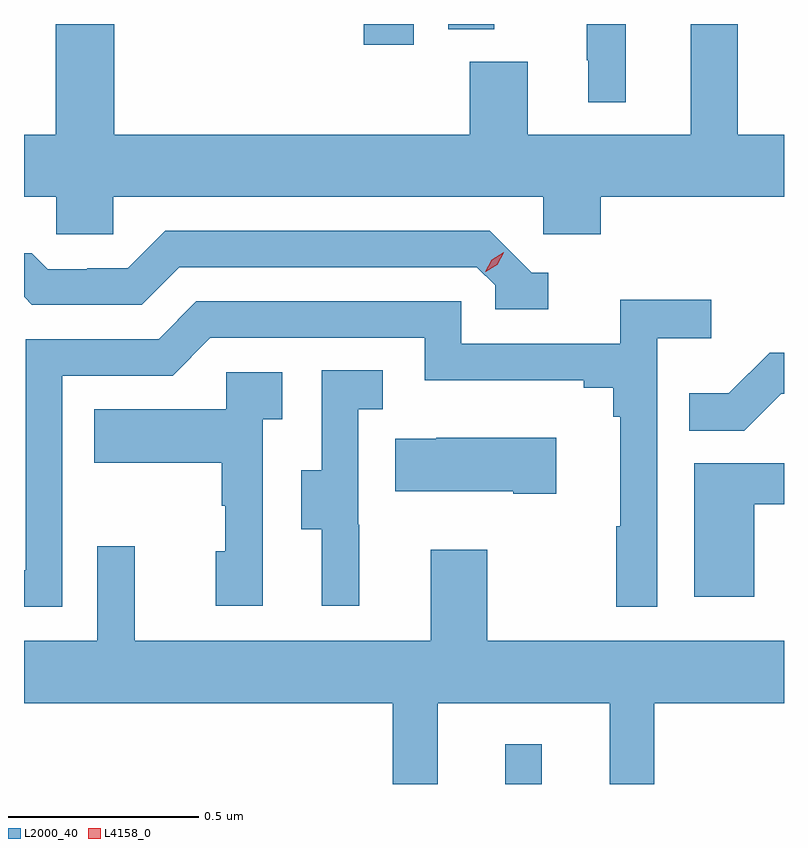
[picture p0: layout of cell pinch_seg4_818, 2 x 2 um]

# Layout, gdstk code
import gdstk
lib = gdstk.Library(unit=1e-6, precision=1e-09)
def R(c, l, rs):  # rectangles x0, y0, x1, y1
    for r in rs: c.add(gdstk.rectangle(r[:2], r[2:], *l))
def P(c, l, *ps):  # polygons
    for p in ps: c.add(gdstk.Polygon(p, *l))
L2000_40 = (2000, 40)
L4158_0 = (4158, 0)

pinch_seg4_818 = lib.new_cell('pinch_seg4_818')
R(pinch_seg4_818, L2000_40, [(819.968,805.931,820.065,806.035), (819.596,807.876,819.727,807.931), (819.818,807.917,819.94,807.931)])
P(pinch_seg4_818, L2000_40, [(818.937,807.476),(820.068,807.476),(820.068,807.378),(820.22,807.378),(820.22,807.476),(820.702,807.476),(820.702,807.64),(820.58,807.64),(820.58,807.931),(820.457,807.931),(820.457,807.64),(820.027,807.64),(820.027,807.832),(819.875,807.832),(819.875,807.64),(818.939,807.64),(818.939,807.931),(818.786,807.931),(818.786,807.64),(818.702,807.64),(818.702,807.476),(818.787,807.476),(818.787,807.378),(818.937,807.378)],
  [(820.285,807.931),(820.183,807.931),(820.183,807.835),(820.187,807.835),(820.187,807.725),(820.285,807.725)],
  [(820.081,807.276),(820.038,807.276),(819.927,807.387),(819.074,807.387),(818.975,807.288),(818.868,807.288),(818.868,807.285),(818.765,807.285),(818.723,807.328),(818.702,807.328),(818.702,807.213),(818.723,807.192),(819.012,807.192),(819.111,807.291),(819.894,807.291),(819.942,807.243),(819.942,807.18),(820.081,807.18)],
  [(818.802,807.006),(819.093,807.006),(819.192,807.105),(819.756,807.105),(819.756,806.993),(820.175,806.993),(820.175,806.974),(820.252,806.974),(820.252,806.897),(820.271,806.897),(820.271,806.609),(820.26,806.609),(820.26,806.397),(820.368,806.397),(820.368,807.104),(820.51,807.104),(820.51,807.206),(820.271,807.206),(820.271,807.09),(819.852,807.09),(819.852,807.201),(819.155,807.201),(819.056,807.102),(818.706,807.102),(818.706,806.493),(818.702,806.493),(818.702,806.397),(818.802,806.397)],
  [(820.695,806.958),(820.702,806.958),(820.702,807.066),(820.664,807.066),(820.557,806.959),(820.453,806.959),(820.453,806.86),(820.597,806.86)],
  [(819.584,806.613),(819.582,806.613),(819.582,806.917),(819.646,806.917),(819.646,807.02),(819.486,807.02),(819.486,806.757),(819.431,806.757),(819.431,806.602),(819.485,806.602),(819.485,806.4),(819.584,806.4)],
  [(819.33,806.891),(819.382,806.891),(819.382,807.015),(819.234,807.015),(819.234,806.917),(818.887,806.917),(818.887,806.777),(819.222,806.777),(819.222,806.663),(819.232,806.663),(819.232,806.544),(819.206,806.544),(819.206,806.4),(819.33,806.4)],
  [(820.102,806.842),(819.787,806.842),(819.787,806.839),(819.679,806.839),(819.679,806.702),(819.989,806.702),(819.989,806.695),(820.102,806.695)],
  [(820.624,806.667),(820.702,806.667),(820.702,806.775),(820.466,806.775),(820.466,806.424),(820.624,806.424)],
  [(819.921,806.548),(819.773,806.548),(819.773,806.308),(818.993,806.308),(818.993,806.557),(818.895,806.557),(818.895,806.308),(818.702,806.308),(818.702,806.144),(819.673,806.144),(819.673,805.931),(819.791,805.931),(819.791,806.144),(820.244,806.144),(820.244,805.931),(820.361,805.931),(820.361,806.144),(820.702,806.144),(820.702,806.308),(819.921,806.308)])
P(pinch_seg4_818, L4158_0, [(819.916,807.279),(819.916,807.279),(819.933,807.311),(819.964,807.33),(819.964,807.33),(819.964,807.329),(819.947,807.297),(819.917,807.279)])

lib.write_gds('pinch_seg4_818.gds')
